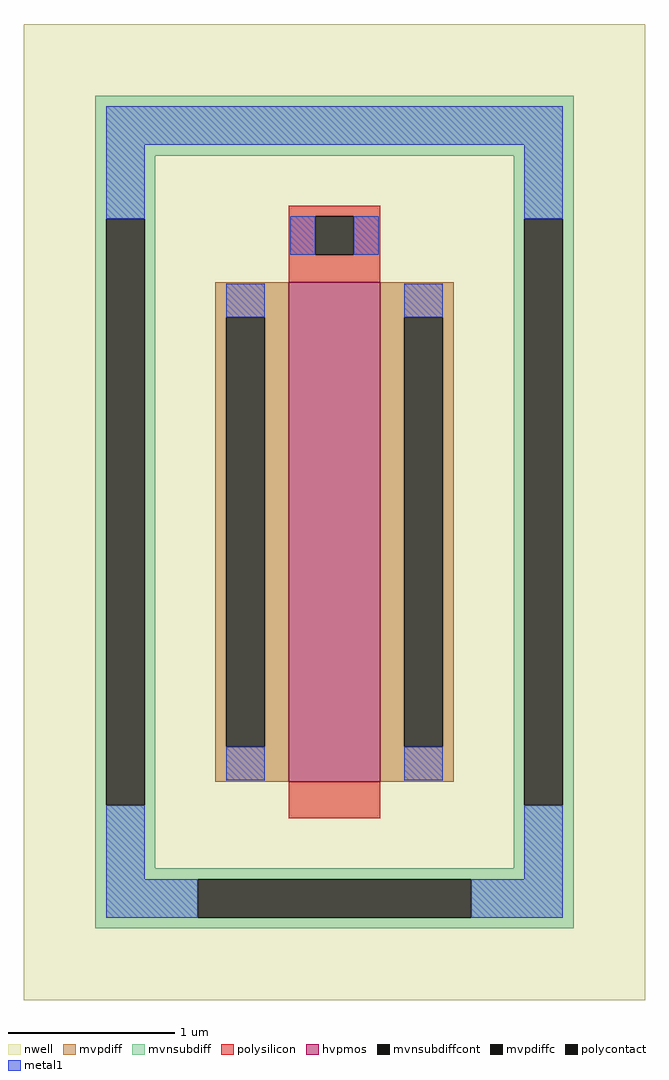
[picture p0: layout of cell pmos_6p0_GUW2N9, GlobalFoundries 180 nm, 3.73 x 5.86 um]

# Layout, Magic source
magic
tech gf180mcuD
magscale 1 10
<< nwell >>
rect -378 -586 368 586
<< hvpmos >>
rect -60 -324 50 276
<< mvpdiff >>
rect -148 234 -60 276
rect -148 -282 -135 234
rect -89 -282 -60 234
rect -148 -324 -60 -282
rect 50 234 138 276
rect 50 -282 79 234
rect 125 -282 138 234
rect 50 -324 138 -282
<< mvpdiffc >>
rect -135 -282 -89 234
rect 79 -282 125 234
<< mvnsubdiff >>
rect -292 428 282 500
rect -292 352 -220 428
rect -292 -352 -279 352
rect -233 -352 -220 352
rect 210 352 282 428
rect -292 -428 -220 -352
rect 210 -352 223 352
rect 269 -352 282 352
rect 210 -428 282 -352
rect -292 -441 282 -428
rect -292 -487 -169 -441
rect 159 -487 282 -441
rect -292 -500 282 -487
<< mvnsubdiffcont >>
rect -279 -352 -233 352
rect 223 -352 269 352
rect -169 -487 159 -441
<< polysilicon >>
rect -60 355 50 368
rect -60 309 -28 355
rect 18 309 50 355
rect -60 276 50 309
rect -60 -368 50 -324
<< polycontact >>
rect -28 309 18 355
<< metal1 >>
rect -279 441 269 487
rect -279 352 -233 441
rect -58 309 -28 355
rect 18 309 48 355
rect 223 352 269 441
rect -135 234 -89 274
rect -135 -322 -89 -282
rect 79 234 125 274
rect 79 -322 125 -282
rect -279 -441 -233 -352
rect 223 -441 269 -352
rect -279 -487 -169 -441
rect 159 -487 269 -441
<< properties >>
string FIXED_BBOX -246 -464 246 464
string GDS_END 6956
string GDS_FILE ../gds/simple_por.gds.gz
string GDS_START 3048
<< end >>
